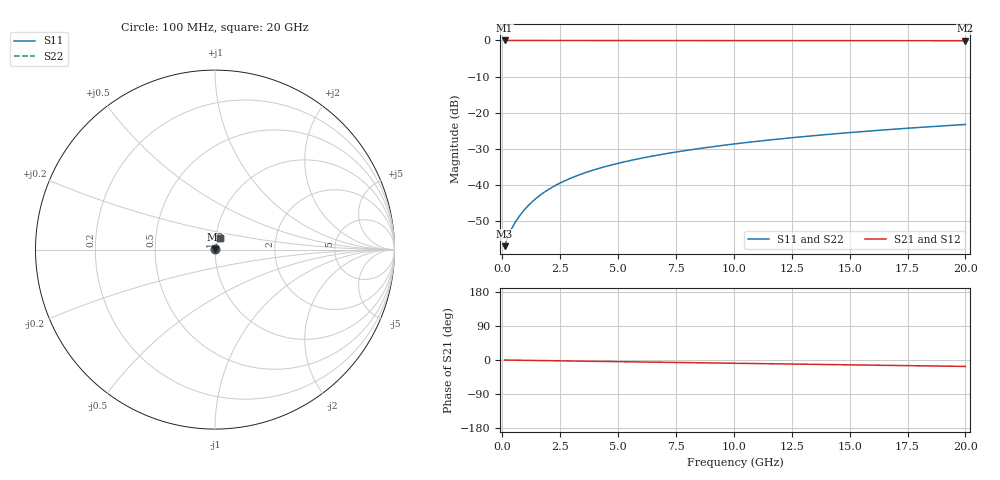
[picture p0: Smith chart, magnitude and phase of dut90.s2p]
! Touchstone file exported from HFSS 2026.1.0
!  File:  C:/ffzhzh/LocalFiles/Ansys_Project_Files/temp_train_BSMRDL_90_1782883219_46784.aedt
!  Generated:  01:21:30 PM Jul  1, 2026
!  Design:  BSMRDL
!  Project:  temp_train_BSMRDL_90_1782883219_46784
! Variables:
!  h_bsmrdl = 5.58um
!  h_ox = 20um
!  h_rdl = 5um
!  h_sub = 80um
!  h_tmrdl = 5um
!  h_tsv = 80um
!  h_via = 3um
!  l_bsmrdl = 290.04um
!  l_sub = 690.04um
!  l_tmrdl = 200um
!  m_sub = 200um
!  pitch = 24.21um
!  r_tsv = 6um
!  s_tmrdl = 10um
!  w_bsmrdl = 16.11um
!  w_sub = 500um
!  w_tmrdl = 12um
!  x_tsv_center1 = 206um
!  x_tsv_center2 = 512.15um
!  x_tsv_center3 = 724.15um
!  x_tsv_center4 = 1030.3um
!  x_tsv_center5 = 1242.3um
!  x_tsv_center6 = 1548.45um
# GHz S MA R 50.000000
! Terminal data exported
! Port[1] = BSM_RDL1_1_T1
! Port[2] = BSM_RDL1_1_T2
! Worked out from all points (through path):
!   200 points, 100 MHz to 20 GHz, reference 50 ohm
!   highest |S21| = -0.01 dB at 100 MHz (marker M1); lowest = -0.1 dB at 20 GHz (marker M2)
!   group delay of S21, straight-line fit = 2.35 ps
!   lowest |S11| = -57.0 dB at 100 MHz (marker M3), VSWR 1.00, Z = 50.1 + j0.0572 ohm
!   |S11| at or under -10 dB: start of sweep to end of sweep
!   |S22| runs from -57.0 to -23.3 dB; largest |S21 - S12| = 5.3e-15
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0.1  0.00141 23.9  0.9987 -0.1  0.9987 -0.1  0.00141 23.9
! Gamma 0 0 0 0
! Port Impedance 50 0 50 0
0.2  0.001757 36.9  0.9986 -0.2  0.9986 -0.2  0.001757 36.9
0.3  0.002109 44.6  0.9985 -0.3  0.9985 -0.3  0.002109 44.6
0.4  0.002455 50.1  0.9984 -0.4  0.9984 -0.4  0.002455 50.1
0.6  0.003161 58.0  0.9983 -0.5  0.9983 -0.5  0.003161 58.0
0.9  0.004284 65.1  0.9982 -0.8  0.9982 -0.8  0.004284 65.1
1.1  0.005061 68.1  0.9982 -1.0  0.9982 -1.0  0.005061 68.1
1.3  0.00585 70.1  0.9981 -1.2  0.9981 -1.2  0.00585 70.1
1.7  0.007439 72.6  0.9979 -1.5  0.9979 -1.5  0.007439 72.6
2.2  0.009415 74.2  0.9977 -2.0  0.9977 -2.0  0.009416 74.2
2.8  0.01175 75.0  0.9974 -2.5  0.9974 -2.5  0.01175 75.0
3.5  0.01439 75.2  0.997 -3.1  0.997 -3.1  0.01439 75.2
4.2  0.01696 75.1  0.9966 -3.7  0.9966 -3.7  0.01696 75.1
5  0.01982 74.9  0.9961 -4.4  0.9961 -4.4  0.01982 74.9
5.9  0.02296 74.6  0.9956 -5.1  0.9956 -5.1  0.02296 74.6
6.8  0.02604 74.2  0.9952 -5.9  0.9952 -5.9  0.02604 74.2
8.3  0.03109 73.5  0.9945 -7.2  0.9945 -7.2  0.03109 73.5
10.1  0.03704 72.6  0.9937 -8.7  0.9937 -8.7  0.03704 72.6
11.7  0.04225 71.8  0.9931 -10.0  0.9931 -10.0  0.04226 71.7
13.4  0.04774 70.7  0.9924 -11.5  0.9924 -11.5  0.04774 70.7
16.7  0.05821 68.6  0.991 -14.2  0.991 -14.2  0.05821 68.6
20  0.06844 66.4  0.9897 -17.0  0.9897 -17.0  0.06845 66.4
